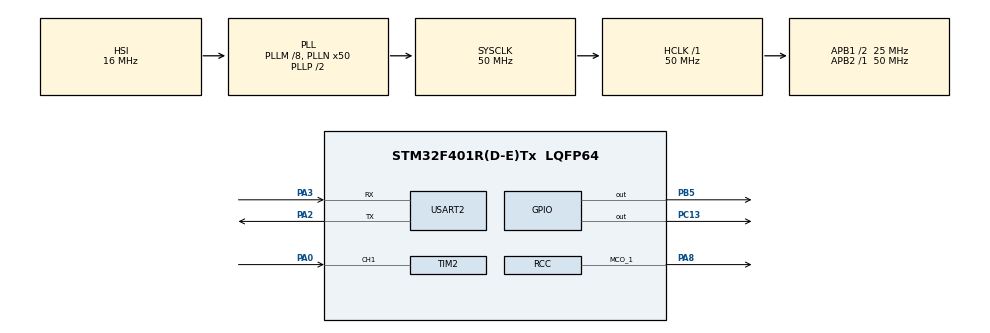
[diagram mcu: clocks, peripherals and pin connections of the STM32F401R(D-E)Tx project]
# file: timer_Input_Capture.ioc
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Mcu.Family=STM32F4
Mcu.Name=STM32F401R(D-E)Tx
Mcu.Package=LQFP64
NVIC.PriorityGroup=NVIC_PRIORITYGROUP_4
NVIC.TIM2_IRQn=true\:0\:0\:false\:false\:true\:true\:true\:true
NVIC.TIM3_IRQn=true\:0\:0\:false\:false\:true\:true\:true\:true
PA0-WKUP.Signal=S_TIM2_CH1_ETR
PA2.Mode=Asynchronous
PA2.Signal=USART2_TX
PA3.Mode=Asynchronous
PA3.Signal=USART2_RX
PA8.Mode=Clock-out-1
PA8.Signal=RCC_MCO_1
PB5.Signal=GPIO_Output
PC13-ANTI_TAMP.Signal=GPIO_Output
PH0\ -\ OSC_IN.Mode=HSE-External-Oscillator
PH0\ -\ OSC_IN.Signal=RCC_OSC_IN
PH1\ -\ OSC_OUT.Mode=HSE-External-Oscillator
PH1\ -\ OSC_OUT.Signal=RCC_OSC_OUT
ProjectManager.HeapSize=0x200
ProjectManager.StackSize=0x400
ProjectManager.TargetToolchain=STM32CubeIDE
RCC.48MHZClocksFreq_Value=25000000
RCC.AHBFreq_Value=50000000
RCC.APB1CLKDivider=RCC_HCLK_DIV2
RCC.APB1Freq_Value=25000000
RCC.APB1TimFreq_Value=50000000
RCC.APB2Freq_Value=50000000
RCC.APB2TimFreq_Value=50000000
RCC.CortexFreq_Value=50000000
RCC.HCLKFreq_Value=50000000
RCC.HSE_VALUE=25000000
RCC.HSI_VALUE=16000000
RCC.PLLM=8
RCC.PLLN=50
RCC.RCC_MCO1Source=RCC_MCO1SOURCE_HSE
RCC.SYSCLKFreq_VALUE=50000000
RCC.SYSCLKSource=RCC_SYSCLKSOURCE_PLLCLK
RCC.VCOOutputFreq_Value=100000000
SH.S_TIM2_CH1_ETR.0=TIM2_CH1,Input_Capture1_from_TI1
TIM2.Channel-Input_Capture1_from_TI1=TIM_CHANNEL_1
TIM2.Period=65535
TIM2.Prescaler=9
TIM3.Period=49
TIM3.Prescaler=9
USART2.VirtualMode=VM_ASYNC
VP_TIM2_VS_ClockSourceINT.Mode=Internal
VP_TIM3_VS_ClockSourceINT.Mode=Internal
board=custom

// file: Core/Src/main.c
/* USER CODE BEGIN Header */
/**
  ******************************************************************************
  * @file           : main.c
  * @brief          : Main program body
  ******************************************************************************
  * @attention
  *
  * Copyright (c) 2025 STMicroelectronics.
  * All rights reserved.
  *
  * This software is licensed under terms that can be found in the LICENSE file
  * in the root directory of this software component.
  * If no LICENSE file comes with this software, it is provided AS-IS.
  *
  ******************************************************************************
  */
/* USER CODE END Header */
#include "main.h"

/* USER CODE BEGIN Includes */
#include <stdio.h>
#include <string.h>

/* USER CODE END Includes */

TIM_HandleTypeDef htim2;
TIM_HandleTypeDef htim3;

UART_HandleTypeDef huart2;

/* USER CODE BEGIN PV */
uint32_t input_captures[2] = {0};
uint8_t count=1;
uint8_t is_capture_done = FALSE;

/* USER CODE END PV */

void SystemClock_Config(void);
static void MX_GPIO_Init(void);
static void MX_TIM2_Init(void);
static void MX_USART2_UART_Init(void);
static void MX_TIM3_Init(void);

int main(void)
{

  /* USER CODE BEGIN 1 */
	uint32_t capture_difference = 0;
	double timer2_cnt_freq = 0;
	double timer2_cnt_res = 0;
	double user_signal_time_period = 0;
	double user_signal_freq = 0;
	char usr_msg[100];
  /* USER CODE END 1 */

  /* MCU Configuration--------------------------------------------------------*/

  /* Reset of all peripherals, Initializes the Flash interface and the Systick. */
  HAL_Init();

  /* Configure the system clock */
  SystemClock_Config();

  /* Initialize all configured peripherals */
  MX_GPIO_Init();
  MX_TIM2_Init();
  MX_USART2_UART_Init();
  MX_TIM3_Init();
  /* USER CODE BEGIN 2 */
  HAL_TIM_Base_Start_IT(&htim3);
  HAL_TIM_PWM_Start(&htim3, TIM_CHANNEL_2);

  HAL_TIM_IC_Start_IT(&htim2, TIM_CHANNEL_1);

  /* USER CODE END 2 */

  /* Infinite loop */
  /* USER CODE BEGIN WHILE */
  while (1)
  {
	  if(is_capture_done)
	  {
		  if(input_captures[1] > input_captures[0])
			  capture_difference = input_captures[1] - input_captures[0];
		  else
			  capture_difference = (0XFFFFFFFF - input_captures[0]) - input_captures[1];

	  timer2_cnt_freq = (HAL_RCC_GetPCLK1Freq() * 2) / (htim2.Init.Prescaler + 1);
	  timer2_cnt_res = 1/timer2_cnt_freq;
	  user_signal_time_period = capture_difference * timer2_cnt_res;
	  user_signal_freq = 1/user_signal_time_period;

	  sprintf(usr_msg,"Frequency of the signal applied = %f\r\n",user_signal_freq);
	  HAL_UART_Transmit(&huart2, usr_msg,strlen(usr_msg), HAL_MAX_DELAY);
	  is_capture_done = FALSE;
	  }
    /* USER CODE END WHILE */

  }
}

void SystemClock_Config(void)
{
  RCC_OscInitTypeDef RCC_OscInitStruct = {0};
  RCC_ClkInitTypeDef RCC_ClkInitStruct = {0};

  /** Configure the main internal regulator output voltage
  */
  __HAL_RCC_PWR_CLK_ENABLE();
  __HAL_PWR_VOLTAGESCALING_CONFIG(PWR_REGULATOR_VOLTAGE_SCALE2);

  /** Initializes the RCC Oscillators according to the specified parameters
  * in the RCC_OscInitTypeDef structure.
  */
  RCC_OscInitStruct.OscillatorType = RCC_OSCILLATORTYPE_HSI|RCC_OSCILLATORTYPE_HSE;
  RCC_OscInitStruct.HSEState = RCC_HSE_ON;
  RCC_OscInitStruct.HSIState = RCC_HSI_ON;
  RCC_OscInitStruct.HSICalibrationValue = RCC_HSICALIBRATION_DEFAULT;
  RCC_OscInitStruct.PLL.PLLState = RCC_PLL_ON;
  RCC_OscInitStruct.PLL.PLLSource = RCC_PLLSOURCE_HSI;
  RCC_OscInitStruct.PLL.PLLM = 8;
  RCC_OscInitStruct.PLL.PLLN = 50;
  RCC_OscInitStruct.PLL.PLLP = RCC_PLLP_DIV2;
  RCC_OscInitStruct.PLL.PLLQ = 4;
  if (HAL_RCC_OscConfig(&RCC_OscInitStruct) != HAL_OK)
  {
    Error_Handler();
  }

  /** Initializes the CPU, AHB and APB buses clocks
  */
  RCC_ClkInitStruct.ClockType = RCC_CLOCKTYPE_HCLK|RCC_CLOCKTYPE_SYSCLK
                              |RCC_CLOCKTYPE_PCLK1|RCC_CLOCKTYPE_PCLK2;
  RCC_ClkInitStruct.SYSCLKSource = RCC_SYSCLKSOURCE_PLLCLK;
  RCC_ClkInitStruct.AHBCLKDivider = RCC_SYSCLK_DIV1;
  RCC_ClkInitStruct.APB1CLKDivider = RCC_HCLK_DIV2;
  RCC_ClkInitStruct.APB2CLKDivider = RCC_HCLK_DIV1;

  if (HAL_RCC_ClockConfig(&RCC_ClkInitStruct, FLASH_LATENCY_1) != HAL_OK)
  {
    Error_Handler();
  }
  HAL_RCC_MCOConfig(RCC_MCO1, RCC_MCO1SOURCE_HSE, RCC_MCODIV_1);
}

static void MX_TIM2_Init(void)
{

  TIM_ClockConfigTypeDef sClockSourceConfig = {0};
  TIM_MasterConfigTypeDef sMasterConfig = {0};
  TIM_IC_InitTypeDef sConfigIC = {0};

  htim2.Instance = TIM2;
  htim2.Init.Prescaler = 9;
  htim2.Init.CounterMode = TIM_COUNTERMODE_UP;
  htim2.Init.Period = 65535;
  htim2.Init.ClockDivision = TIM_CLOCKDIVISION_DIV1;
  htim2.Init.AutoReloadPreload = TIM_AUTORELOAD_PRELOAD_DISABLE;
  if (HAL_TIM_Base_Init(&htim2) != HAL_OK)
  {
    Error_Handler();
  }
  sClockSourceConfig.ClockSource = TIM_CLOCKSOURCE_INTERNAL;
  if (HAL_TIM_ConfigClockSource(&htim2, &sClockSourceConfig) != HAL_OK)
  {
    Error_Handler();
  }
  if (HAL_TIM_IC_Init(&htim2) != HAL_OK)
  {
    Error_Handler();
  }
  sMasterConfig.MasterOutputTrigger = TIM_TRGO_RESET;
  sMasterConfig.MasterSlaveMode = TIM_MASTERSLAVEMODE_DISABLE;
  if (HAL_TIMEx_MasterConfigSynchronization(&htim2, &sMasterConfig) != HAL_OK)
  {
    Error_Handler();
  }
  sConfigIC.ICPolarity = TIM_INPUTCHANNELPOLARITY_RISING;
  sConfigIC.ICSelection = TIM_ICSELECTION_DIRECTTI;
  sConfigIC.ICPrescaler = TIM_ICPSC_DIV1;
  sConfigIC.ICFilter = 0;
  if (HAL_TIM_IC_ConfigChannel(&htim2, &sConfigIC, TIM_CHANNEL_1) != HAL_OK)
  {
    Error_Handler();
  }

}

static void MX_TIM3_Init(void)
{

  TIM_ClockConfigTypeDef sClockSourceConfig = {0};
  TIM_MasterConfigTypeDef sMasterConfig = {0};

  htim3.Instance = TIM3;
  htim3.Init.Prescaler = 9;
  htim3.Init.CounterMode = TIM_COUNTERMODE_UP;
  htim3.Init.Period = 49;
  htim3.Init.ClockDivision = TIM_CLOCKDIVISION_DIV1;
  htim3.Init.AutoReloadPreload = TIM_AUTORELOAD_PRELOAD_DISABLE;
  if (HAL_TIM_Base_Init(&htim3) != HAL_OK)
  {
    Error_Handler();
  }
  sClockSourceConfig.ClockSource = TIM_CLOCKSOURCE_INTERNAL;
  if (HAL_TIM_ConfigClockSource(&htim3, &sClockSourceConfig) != HAL_OK)
  {
    Error_Handler();
  }
  sMasterConfig.MasterOutputTrigger = TIM_TRGO_RESET;
  sMasterConfig.MasterSlaveMode = TIM_MASTERSLAVEMODE_DISABLE;
  if (HAL_TIMEx_MasterConfigSynchronization(&htim3, &sMasterConfig) != HAL_OK)
  {
    Error_Handler();
  }

}

static void MX_USART2_UART_Init(void)
{

  huart2.Instance = USART2;
  huart2.Init.BaudRate = 115200;
  huart2.Init.WordLength = UART_WORDLENGTH_8B;
  huart2.Init.StopBits = UART_STOPBITS_1;
  huart2.Init.Parity = UART_PARITY_NONE;
  huart2.Init.Mode = UART_MODE_TX_RX;
  huart2.Init.HwFlowCtl = UART_HWCONTROL_NONE;
  huart2.Init.OverSampling = UART_OVERSAMPLING_16;
  if (HAL_UART_Init(&huart2) != HAL_OK)
  {
    Error_Handler();
  }

}

static void MX_GPIO_Init(void)
{
  GPIO_InitTypeDef GPIO_InitStruct = {0};

  /* GPIO Ports Clock Enable */
  __HAL_RCC_GPIOC_CLK_ENABLE();
  __HAL_RCC_GPIOH_CLK_ENABLE();
  __HAL_RCC_GPIOA_CLK_ENABLE();
  __HAL_RCC_GPIOB_CLK_ENABLE();

  /*Configure GPIO pin Output Level */
  HAL_GPIO_WritePin(GPIOC, GPIO_PIN_13, GPIO_PIN_RESET);

  /*Configure GPIO pin Output Level */
  HAL_GPIO_WritePin(GPIOB, GPIO_PIN_5, GPIO_PIN_RESET);

  /*Configure GPIO pin : PC13 */
  GPIO_InitStruct.Pin = GPIO_PIN_13;
  GPIO_InitStruct.Mode = GPIO_MODE_OUTPUT_PP;
  GPIO_InitStruct.Pull = GPIO_NOPULL;
  GPIO_InitStruct.Speed = GPIO_SPEED_FREQ_LOW;
  HAL_GPIO_Init(GPIOC, &GPIO_InitStruct);

  /*Configure GPIO pin : PA8 */
  GPIO_InitStruct.Pin = GPIO_PIN_8;
  GPIO_InitStruct.Mode = GPIO_MODE_AF_PP;
  GPIO_InitStruct.Pull = GPIO_NOPULL;
  GPIO_InitStruct.Speed = GPIO_SPEED_FREQ_LOW;
  GPIO_InitStruct.Alternate = GPIO_AF0_MCO;
  HAL_GPIO_Init(GPIOA, &GPIO_InitStruct);

  /*Configure GPIO pin : PB5 */
  GPIO_InitStruct.Pin = GPIO_PIN_5;
  GPIO_InitStruct.Mode = GPIO_MODE_OUTPUT_PP;
  GPIO_InitStruct.Pull = GPIO_NOPULL;
  GPIO_InitStruct.Speed = GPIO_SPEED_FREQ_LOW;
  HAL_GPIO_Init(GPIOB, &GPIO_InitStruct);

}

/* USER CODE BEGIN 4 */

void HAL_TIM_IC_CaptureCallback(TIM_HandleTypeDef *htim)
{
	if(! is_capture_done)
	{
		if(count == 1)
		{
			input_captures[0] = __HAL_TIM_GET_COMPARE(htim, TIM_CHANNEL_1);
			count++;
		}
		else if (count == 2)
		{
			input_captures[1] = __HAL_TIM_GET_COMPARE(htim, TIM_CHANNEL_1);
			count = 1;
			is_capture_done = TRUE;
		}
	}

}

/* USER CODE END 4 */

void Error_Handler(void)
{
  __disable_irq();
  while (1)
  {
  }
}
